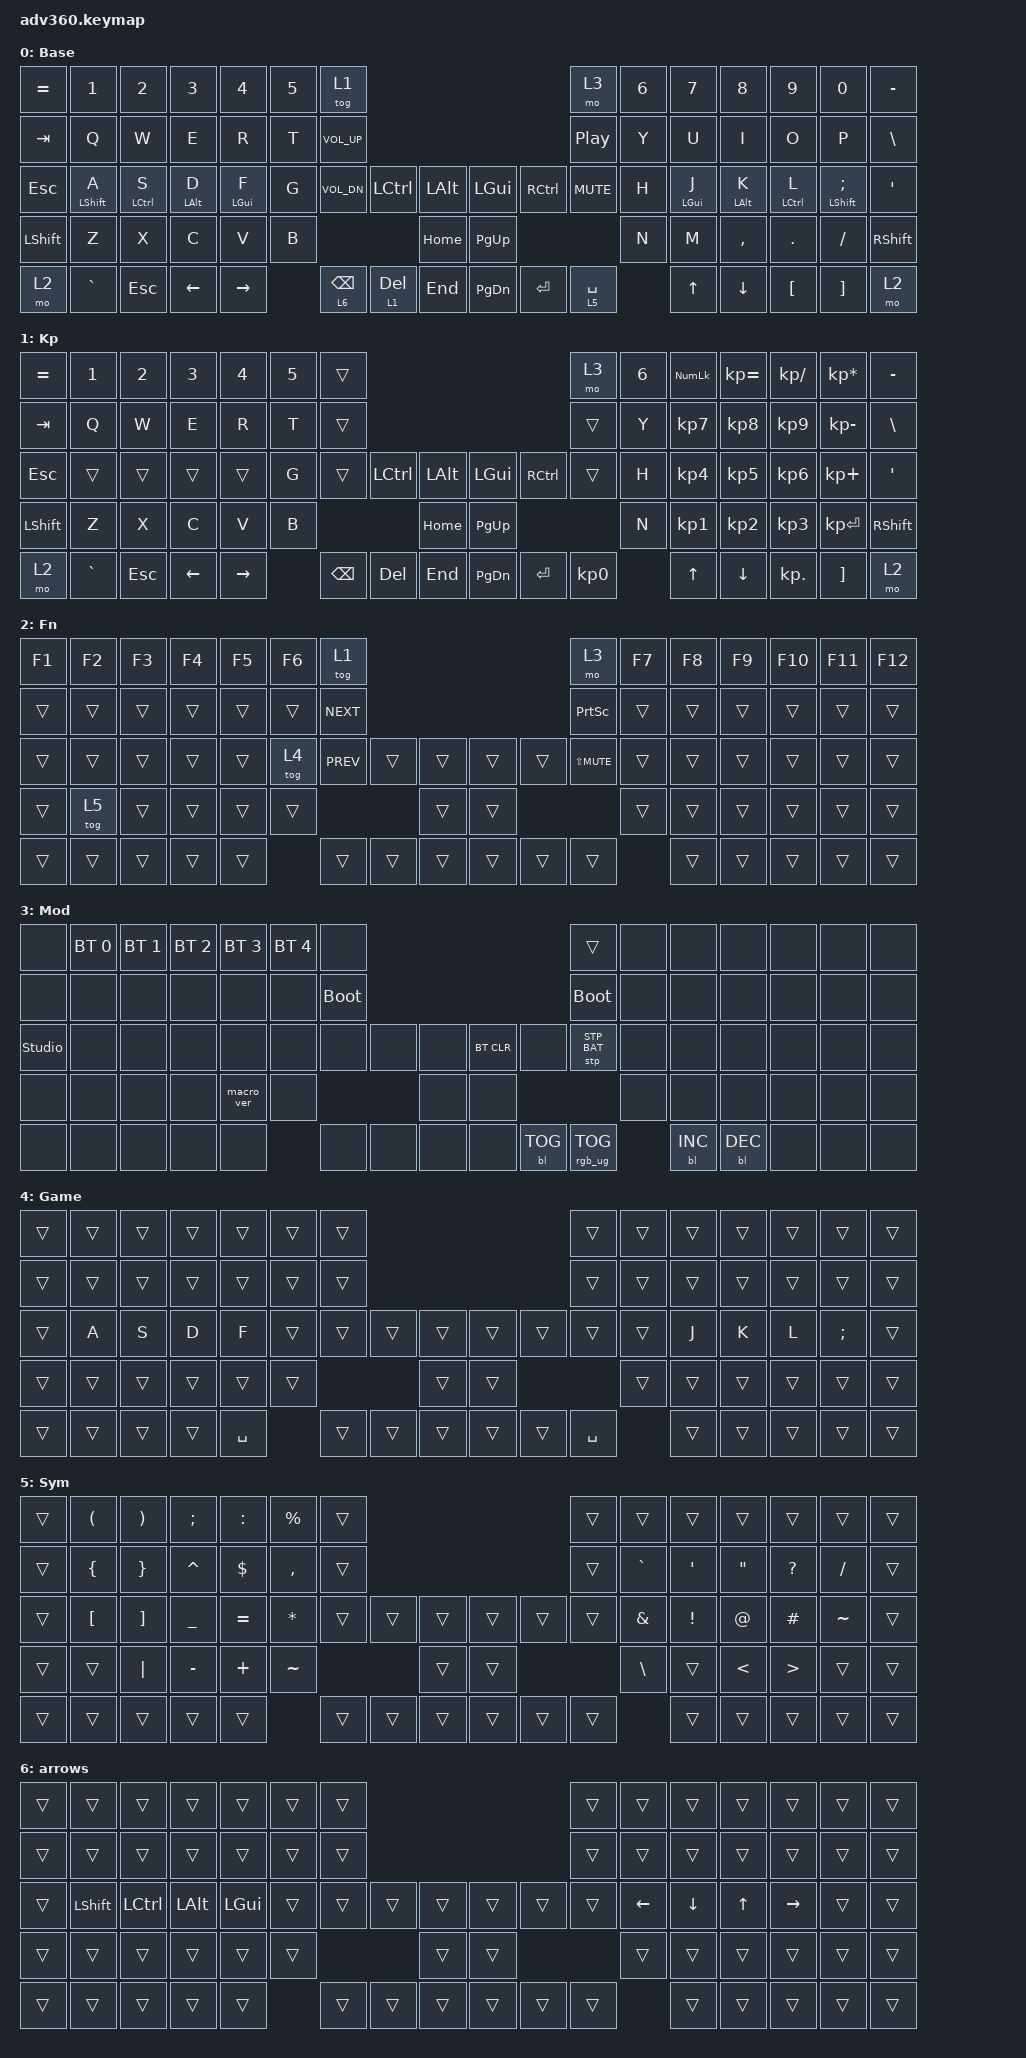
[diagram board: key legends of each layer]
#include <dt-bindings/zmk/stp.h>
#include <behaviors.dtsi>
#include <dt-bindings/zmk/backlight.h>
#include <dt-bindings/zmk/bt.h>
#include <dt-bindings/zmk/keys.h>
#include <dt-bindings/zmk/rgb.h>

/ {
    behaviors {
        #include "macros.dtsi"
      #include "version.dtsi"

        hml: homerow_mods_left {
            compatible = "zmk,behavior-hold-tap";
            label = "HOMEROW_MODS_LEFT";
            #binding-cells = <2>;
            tapping-term-ms = <200>;
            quick-tap-ms = <175>;
            require-prior-idle-ms = <150>;
            flavor = "balanced";
            hold-trigger-on-release;
            hold-trigger-key-positions = <7 8 9 10 11 12 13 21 22 23 24 25 26 27 37 38 39 40 41 42 43 44 45 54 55 56 57 58 59 68 69 70 71 72 73 74 75>;
            bindings = <&kp>, <&kp>;
        };

        hmr: homerow_mods_right {
            compatible = "zmk,behavior-hold-tap";
            label = "HOMEROW_MODS_RIGHT";
            #binding-cells = <2>;
            tapping-term-ms = <200>;
            quick-tap-ms = <175>;
            require-prior-idle-ms = <150>;
            flavor = "balanced";
            hold-trigger-on-release;
            hold-trigger-key-positions = <0 1 2 3 4 5 6 14 15 16 17 18 19 20 28 29 30 31 32 33 34 35 36 46 47 48 49 50 51 52 53 60 61 62 63 64 65 66 67>;
            bindings = <&kp>, <&kp>;
        };
    };

    keymap {
        compatible = "zmk,keymap";

        default_layer {
            display-name = "Base";
            bindings = <
&kp EQUAL  &kp N1         &kp N2        &kp N3       &kp N4       &kp N5  &tog 1                                                             &mo 3        &kp N6  &kp N7       &kp N8       &kp N9        &kp N0            &kp MINUS
&kp TAB    &kp Q          &kp W         &kp E        &kp R        &kp T   &kp C_VOL_UP                                                       &kp C_PP     &kp Y   &kp U        &kp I        &kp O         &kp P             &kp BSLH
&kp ESC    &hml LSHIFT A  &hml LCTRL S  &hml LALT D  &hml LGUI F  &kp G   &kp C_VOL_DN     &kp LCTRL     &kp LALT      &kp LGUI   &kp RCTRL  &kp C_MUTE   &kp H   &hmr LGUI J  &hmr LALT K  &hmr LCTRL L  &hmr LSHIFT SEMI  &kp SQT
&kp LSHFT  &kp Z          &kp X         &kp C        &kp V        &kp B                                  &kp HOME      &kp PG_UP                          &kp N   &kp M        &kp COMMA    &kp DOT       &kp FSLH          &kp RSHFT
&mo 2      &kp GRAVE      &kp ESC       &kp LEFT     &kp RIGHT            &lt 6 BACKSPACE  &lt 1 DELETE  &kp END       &kp PG_DN  &kp ENTER  &lt 5 SPACE          &kp UP       &kp DOWN     &kp LBKT      &kp RBKT          &mo 2
            >;
        };

        keypad {
            display-name = "Kp";
            bindings = <
&kp EQUAL  &kp N1     &kp N2   &kp N3    &kp N4     &kp N5  &trans                                                   &mo 3      &kp N6  &kp KP_NUM  &kp KP_EQUAL  &kp KP_DIVIDE  &kp KP_MULTIPLY  &kp MINUS
&kp TAB    &kp Q      &kp W    &kp E     &kp R      &kp T   &trans                                                   &trans     &kp Y   &kp KP_N7   &kp KP_N8     &kp KP_N9      &kp KP_MINUS     &kp BSLH
&kp ESC    &trans     &trans   &trans    &trans     &kp G   &trans    &kp LCTRL  &kp LALT      &kp LGUI   &kp RCTRL  &trans     &kp H   &kp KP_N4   &kp KP_N5     &kp KP_N6      &kp KP_PLUS      &kp SQT
&kp LSHFT  &kp Z      &kp X    &kp C     &kp V      &kp B                        &kp HOME      &kp PG_UP                        &kp N   &kp KP_N1   &kp KP_N2     &kp KP_N3      &kp KP_ENTER     &kp RSHFT
&mo 2      &kp GRAVE  &kp ESC  &kp LEFT  &kp RIGHT          &kp BSPC  &kp DEL    &kp END       &kp PG_DN  &kp ENTER  &kp KP_N0          &kp UP      &kp DOWN      &kp KP_DOT     &kp RBKT         &mo 2
            >;
        };

        fn {
            display-name = "Fn";
            bindings = <
&kp F1  &kp F2  &kp F3  &kp F4  &kp F5  &kp F6  &tog 1                                          &mo 3           &kp F7  &kp F8  &kp F9  &kp F10  &kp F11  &kp F12
&trans  &trans  &trans  &trans  &trans  &trans  &kp C_NEXT                                      &kp PSCRN       &trans  &trans  &trans  &trans   &trans   &trans
&trans  &trans  &trans  &trans  &trans  &tog 4  &kp C_PREV  &trans  &trans      &trans  &trans  &kp LS(C_MUTE)  &trans  &trans  &trans  &trans   &trans   &trans
&trans  &tog 5  &trans  &trans  &trans  &trans                      &trans      &trans                          &trans  &trans  &trans  &trans   &trans   &trans
&trans  &trans  &trans  &trans  &trans          &trans      &trans  &trans      &trans  &trans  &trans                  &trans  &trans  &trans   &trans   &trans
            >;
        };

        mod {
            display-name = "Mod";
            bindings = <
&none           &bt BT_SEL 0  &bt BT_SEL 1  &bt BT_SEL 2  &bt BT_SEL 3  &bt BT_SEL 4  &none                                                  &trans           &none  &none       &none       &none  &none  &none
&none           &none         &none         &none         &none         &none         &bootloader                                            &bootloader      &none  &none       &none       &none  &none  &none
&studio_unlock  &none         &none         &none         &none         &none         &none        &none  &none      &bt BT_CLR  &none       &stp STP_BAT     &none  &none       &none       &none  &none  &none
&none           &none         &none         &none         &macro_ver    &none                             &none      &none                                    &none  &none       &none       &none  &none  &none
&none           &none         &none         &none         &none                       &none        &none  &none      &none       &bl BL_TOG  &rgb_ug RGB_TOG         &bl BL_INC  &bl BL_DEC  &none  &none  &none
            >;
        };

        game {
            display-name = "Game";
            bindings = <
&trans  &trans  &trans  &trans  &trans     &trans  &trans                                      &trans     &trans  &trans  &trans  &trans  &trans    &trans
&trans  &trans  &trans  &trans  &trans     &trans  &trans                                      &trans     &trans  &trans  &trans  &trans  &trans    &trans
&trans  &kp A   &kp S   &kp D   &kp F      &trans  &trans  &trans  &trans      &trans  &trans  &trans     &trans  &kp J   &kp K   &kp L   &kp SEMI  &trans
&trans  &trans  &trans  &trans  &trans     &trans                  &trans      &trans                     &trans  &trans  &trans  &trans  &trans    &trans
&trans  &trans  &trans  &trans  &kp SPACE          &trans  &trans  &trans      &trans  &trans  &kp SPACE          &trans  &trans  &trans  &trans    &trans
            >;
        };

        symbols {
            display-name = "Sym";
            bindings = <
&trans  &kp LPAR          &kp RPAR           &kp SEMI   &kp COLON   &kp PRCNT  &trans                                      &trans  &trans     &trans    &trans   &trans     &trans     &trans
&trans  &kp LBRC          &kp RBRC           &kp CARET  &kp DOLLAR  &kp COMMA  &trans                                      &trans  &kp GRAVE  &kp SQT   &kp DQT  &kp QMARK  &kp FSLH   &trans
&trans  &kp LEFT_BRACKET  &kp RIGHT_BRACKET  &kp UNDER  &kp EQUAL   &kp STAR   &trans  &trans  &trans      &trans  &trans  &trans  &kp AMPS   &kp EXCL  &kp AT   &kp HASH   &kp TILDE  &trans
&trans  &trans            &kp PIPE           &kp MINUS  &kp PLUS    &kp TILDE                  &trans      &trans                  &kp BSLH   &trans    &kp LT   &kp GT     &trans     &trans
&trans  &trans            &trans             &trans     &trans                 &trans  &trans  &trans      &trans  &trans  &trans             &trans    &trans   &trans     &trans     &trans
            >;
        };

        arrows {
            bindings = <
&trans  &trans          &trans     &trans        &trans        &trans  &trans                                      &trans  &trans          &trans          &trans        &trans           &trans  &trans
&trans  &trans          &trans     &trans        &trans        &trans  &trans                                      &trans  &trans          &trans          &trans        &trans           &trans  &trans
&trans  &kp LEFT_SHIFT  &kp LCTRL  &kp LEFT_ALT  &kp LEFT_GUI  &trans  &trans  &trans  &trans      &trans  &trans  &trans  &kp LEFT_ARROW  &kp DOWN_ARROW  &kp UP_ARROW  &kp RIGHT_ARROW  &trans  &trans
&trans  &trans          &trans     &trans        &trans        &trans                  &trans      &trans                  &trans          &trans          &trans        &trans           &trans  &trans
&trans  &trans          &trans     &trans        &trans                &trans  &trans  &trans      &trans  &trans  &trans                  &trans          &trans        &trans           &trans  &trans
            >;
        };
    };
};
